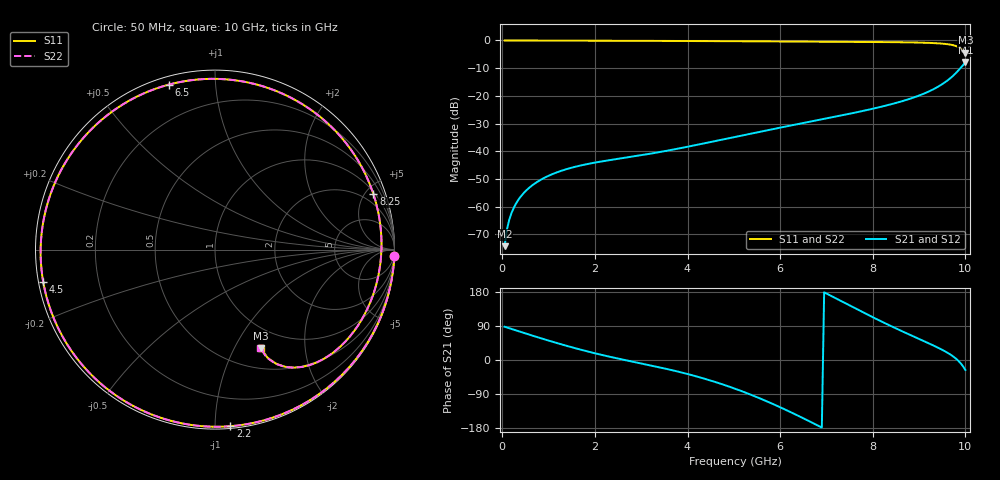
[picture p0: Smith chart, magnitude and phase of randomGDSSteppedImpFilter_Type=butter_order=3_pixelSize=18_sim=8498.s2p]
! freq	dB(S11)	phase(S11)	dB(S12)	phase(S12)
!  dB(S21)	phase(S21)	dB(S22)	phase(S22)
!S-par simulation data
#  GHz  S  DB  R 50
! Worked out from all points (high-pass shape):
!   200 points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, 50 MHz to 10 GHz, reference 50 ohm
!   highest |S21| = -7.96 dB at 10 GHz (marker M1); lowest = -74.3 dB at 50 MHz (marker M2)
!   |S21| within 3 dB of the highest: 9.842 GHz to end of sweep
!   lowest |S11| = -4.4 dB at 10 GHz (marker M3), VSWR 4.07, Z = 37 - j64.2 ohm
!   |S11| at or under -10 dB: nowhere
!   |S22| runs from -4.4 to 0.0 dB; largest |S21 - S12| = 0
!   S11 on the Smith chart (normalised r, x): 50 MHz: 0, -57; 2.2 GHz: 0.01, -1.09; 4.5 GHz: 0.01, -0.09; 6.5 GHz: 0.04, +0.76; 8.25 GHz: 1.15, +5.65; 10 GHz: 0.74, -1.28
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0.05  -0.00 -2.0  -74.31 87.8  -74.31 87.8  -0.00 -2.0
0.1  -0.00 -4.0  -68.29 85.9  -68.29 85.9  -0.00 -4.0
0.2  -0.01 -8.0  -62.29 81.9  -62.29 81.9  -0.01 -8.0
0.5  -0.03 -19.9  -54.47 70.1  -54.47 70.1  -0.03 -19.9
1  -0.05 -39.5  -48.87 51.2  -48.87 51.2  -0.05 -39.5
1.75  -0.09 -68.2  -44.95 25.4  -44.95 25.4  -0.09 -68.2
2.2  -0.11 -85.0  -43.55 11.9  -43.55 11.9  -0.11 -85.0
2.8  -0.13 -107.0  -41.98 -4.0  -41.98 -4.0  -0.13 -107.0
3.4  -0.16 -128.8  -40.31 -19.5  -40.31 -19.5  -0.16 -128.8
4.5  -0.23 -169.5  -36.68 -54.3  -36.68 -54.3  -0.23 -169.5
5.05  -0.27 169.0  -34.75 -76.8  -34.75 -76.8  -0.27 169.0
5.75  -0.34 139.8  -32.34 -111.1  -32.34 -111.1  -0.34 139.7
6.5  -0.40 105.7  -29.84 -153.8  -29.84 -153.8  -0.40 105.6
6.7  -0.42 96.1  -29.18 -166.0  -29.18 -166.0  -0.42 96.0
7.4  -0.49 61.6  -26.83 150.2  -26.83 150.2  -0.49 61.5
7.85  -0.53 39.1  -25.23 122.0  -25.23 122.0  -0.53 39.0
8.25  -0.58 19.3  -23.67 97.9  -23.67 97.9  -0.58 19.2
8.35  -0.60 14.4  -23.25 92.0  -23.25 92.0  -0.60 14.4
8.9  -0.73 -11.7  -20.51 61.0  -20.51 61.0  -0.73 -11.8
9.5  -1.15 -40.1  -15.79 26.8  -15.79 26.8  -1.15 -40.2
9.8  -2.03 -56.1  -11.69 3.2  -11.69 3.2  -2.04 -56.4
10  -4.36 -65.0  -7.96 -26.4  -7.96 -26.4  -4.41 -65.4
